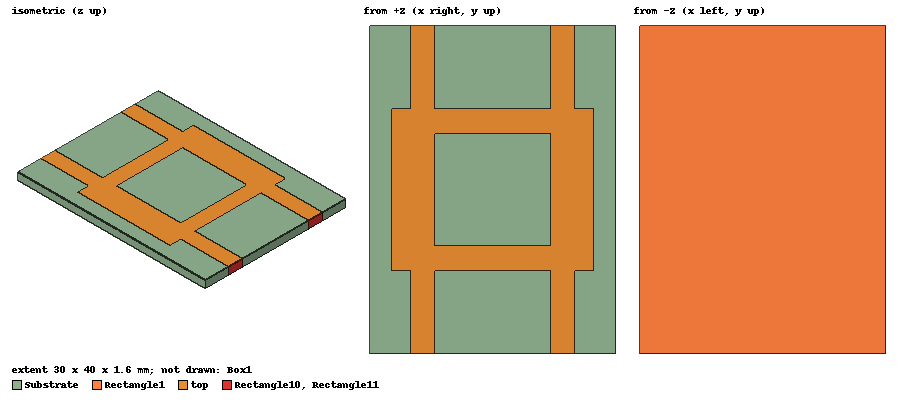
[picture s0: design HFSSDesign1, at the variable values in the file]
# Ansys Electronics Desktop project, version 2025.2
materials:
  vacuum: permittivity=1
  FR4_epoxy: permittivity=4.4 dielectric_loss_tangent=0.02
  air: permittivity=1.0006 permeability=1.0000004

design HFSSDesign1 (HFSS, HFSS Terminal Network, model units mm)
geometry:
  Rectangle1 = rectangle(corner=(-15mm, -20mm, 0mm), x_size=30mm, y_size=40mm)
  Substrate [FR4_epoxy] = box(corner=(-15mm, -20mm, 0mm), size=(30mm, 40mm, 1.6mm))
  Rectangle2 = rectangle(corner=((-24.7/2) mm, (-19.7/2) mm, 1.6mm), x_size=24.7mm, y_size=19.7mm)
  Rectangle3 = rectangle(corner=((-14.1/2) mm, (-13.7/2) mm, 1.6mm), x_size=14.1mm, y_size=13.7mm)
  Rectangle2.subtract(Rectangle3)
  top = rectangle(corner=((-14.1/2) mm, -20mm, 1.6mm), x_size=-3mm, y_size=10.15mm)
  Rectangle5 = rectangle(corner=((14.1/2) mm, -20mm, 1.6mm), x_size=3mm, y_size=10.15mm)
  Rectangle6 = rectangle(corner=((-14.1/2) mm, 20mm, 1.6mm), x_size=-3mm, y_size=-10.15mm)
  Rectangle7 = rectangle(corner=((14.1/2) mm, 20mm, 1.6mm), x_size=3mm, y_size=-10.15mm)
  Rectangle8 = rectangle(corner=(-10.05mm, -20mm, 1.6mm), z_size=-1.6mm, x_size=3mm)
  Rectangle9 = rectangle(corner=(10.05mm, -20mm, 1.6mm), z_size=-1.6mm, x_size=-3mm)
  Rectangle10 = rectangle(corner=(-10.05mm, 20mm, 1.6mm), z_size=-1.6mm, x_size=3mm)
  Rectangle11 = rectangle(corner=(10.05mm, 20mm, 1.6mm), z_size=-1.6mm, x_size=-3mm)
  top.unite(Rectangle2, Rectangle6, Rectangle5, Rectangle7)
  Box1 [air] = box(corner=(-25mm, -25mm, -25mm), size=(50mm, 50mm, 50mm))
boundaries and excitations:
  PerfE1: Perfect E Objects=Rectangle1
  PerfE2: Perfect E Objects=top
  Rad1: Radiation Objects=Box1
  1: Lumped Port Objects=Rectangle8 LumpedPortType=Modal Modes{Mode1{IntLine{(-8.55, -20, 0) -> (-8.6, -20, 1.6)} CharImp=Zpi}} Impedance=50ohm
  2: Lumped Port Objects=Rectangle10 LumpedPortType=Modal Modes{Mode1{IntLine{(-8.6, 20, 0) -> (-8.55, 20, 1.6)} CharImp=Zpi RenormImp=50ohm}} Impedance=50ohm
  3: Lumped Port Objects=Rectangle11 LumpedPortType=Modal Modes{Mode1{IntLine{(8.55, 20, 0) -> (8.55, 20, 1.6)} CharImp=Zpi RenormImp=50ohm}} Impedance=50ohm
  4: Lumped Port Objects=Rectangle9 LumpedPortType=Modal Modes{Mode1{IntLine{(8.55, -20, 0) -> (8.55, -20, 1.6)} CharImp=Zpi RenormImp=50ohm}} Impedance=50ohm
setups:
  Setup1: HfssDriven Frequency=2.4GHz MaxDeltaS=0.02 MaximumPasses=6 MinimumPasses=1 MinimumConvergedPasses=1 PercentRefinement=30 BasisOrder=1 PortAccuracy=2 DrivenSolverType="Direct Solver"
    sweep Sweep: 1.2GHz to 3.6GHz, 401 points; Type=Interpolating InterpTolerance=0.5 InterpMaxSolns=250 PassivityErrorTolerance=0.0001
    sweep Sweep1: 1GHz to 5GHz step 0.006GHz; Type=Interpolating InterpTolerance=0.5 InterpMaxSolns=250 PassivityErrorTolerance=0.0001
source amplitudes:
  1:1: 1V 0deg
  2:1, 3:1, 4:1: 0V 0deg
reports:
  S Parameter Plot1: dB(S(1,1)), dB(S(2,1)), dB(S(3,1)), dB(S(4,1)), dB(S(1,2)), dB(S(2,2)), dB(S(3,2)), dB(S(4,2)), dB(S(1,3)), dB(S(2,3)), dB(S(3,3)), dB(S(4,3)), dB(S(1,4)), dB(S(2,4)), dB(S(3,4)), dB(S(4,4)) vs Freq on Setup1 : Sweep; markers m1 at 2.424GHz, m2 at 2.418GHz, m3 at 2.346GHz, m4 at 2.418GHz, m5 at 2.418GHz
